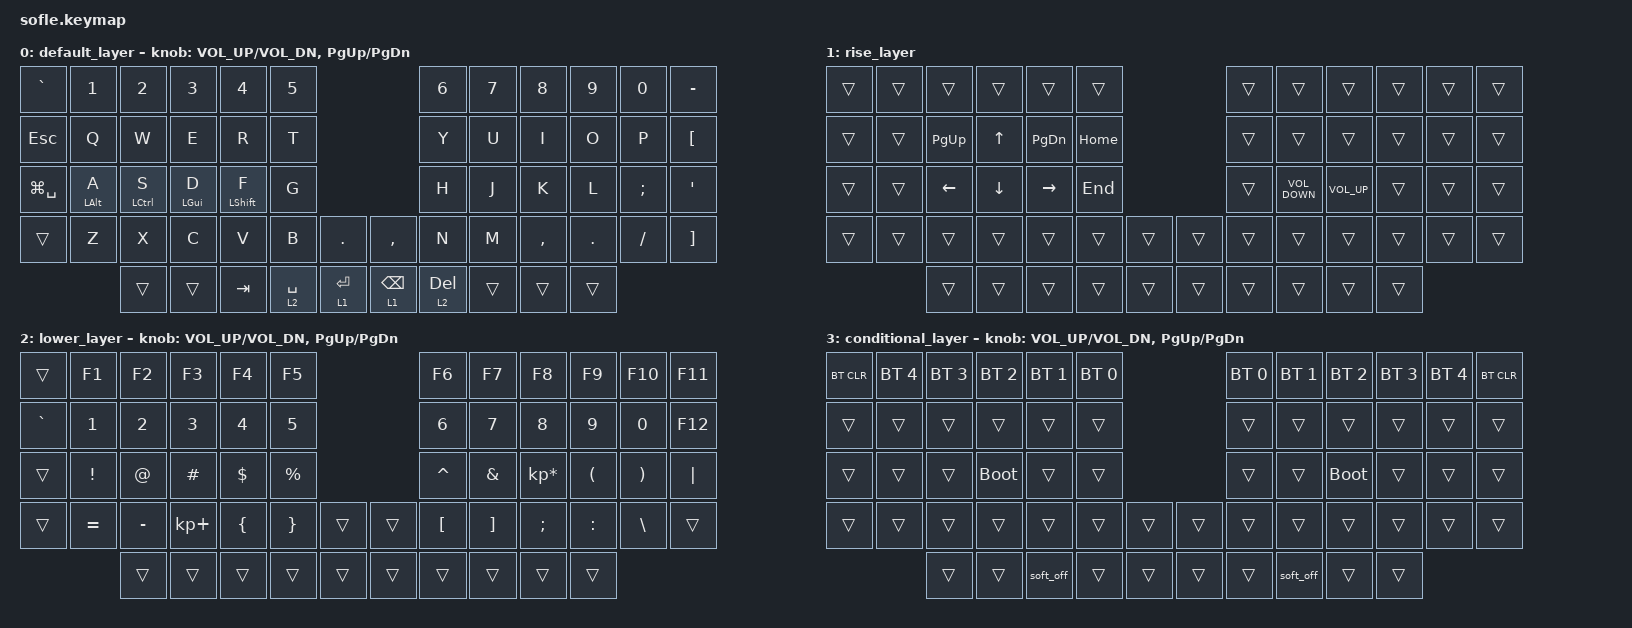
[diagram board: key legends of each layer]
/*
 * Copyright (c) 2020 The ZMK Contributors
 *
 * SPDX-License-Identifier: MIT
 */

#include <behaviors.dtsi>
#include <dt-bindings/zmk/bt.h>
#include <dt-bindings/zmk/keys.h>

/ {
    keymap {
        compatible = "zmk,keymap";

        default_layer {
            // ------------------------------------------------------------------------------------------------------------
            // |  `    |  1  |  2  |  3   |  4   |  5   |                         |  6   |  7    |  8    |  9   |   0   |       |
            // |  ESC  |  Q  |  W  |  E   |  R   |  T   |                         |  Y   |  U    |  I    |  O   |   P   | BKSPC |
            // |  TAB  |  A  |  S  |  D   |  F   |  G   |                         |  H   |  J    |  K    |  L   |   ;   |   '   |
            // | SHIFT |  Z  |  X  |  C   |  V   |  B   |  MUTE  |        | ExtPw |  N   |  M    |  ,    |  .   |   /   | SHIFT |
            //               | GUI | ALT  | CTRL | LOWER|  ENTER |        | SPACE | RAISE| CTRL  | ALT   | GUI  |

            bindings = <
&kp GRAVE      &kp N1          &kp N2       &kp N3      &kp N4       &kp N5                                      &kp N6        &kp N7  &kp N8     &kp N9   &kp N0    &kp MINUS
&kp ESC        &kp Q           &kp W        &kp E       &kp R        &kp T                                       &kp Y         &kp U   &kp I      &kp O    &kp P     &kp LBKT
&kp LG(SPACE)  &mt LEFT_ALT A  &mt LCTRL S  &mt LGUI D  &mt LSHFT F  &kp G                                       &kp H         &kp J   &kp K      &kp L    &kp SEMI  &kp SQT
&trans         &kp Z           &kp X        &kp C       &kp V        &kp B        &kp PERIOD    &kp COMMA        &kp N         &kp M   &kp COMMA  &kp DOT  &kp FSLH  &kp RIGHT_BRACKET
                               &trans       &trans      &kp TAB      &lt 2 SPACE  &lt 1 RET     &lt 1 BACKSPACE  &lt 2 DELETE  &trans  &trans     &trans
            >;

            sensor-bindings = <&inc_dec_kp C_VOL_UP C_VOL_DN &inc_dec_kp PG_UP PG_DN>;
        };

        rise_layer {
            bindings = <
&trans  &trans  &trans     &trans    &trans     &trans                      &trans  &trans             &trans           &trans  &trans  &trans
&trans  &trans  &kp PG_UP  &kp UP    &kp PG_DN  &kp HOME                    &trans  &trans             &trans           &trans  &trans  &trans
&trans  &trans  &kp LEFT   &kp DOWN  &kp RIGHT  &kp END                     &trans  &kp C_VOLUME_DOWN  &kp C_VOLUME_UP  &trans  &trans  &trans
&trans  &trans  &trans     &trans    &trans     &trans    &trans    &trans  &trans  &trans             &trans           &trans  &trans  &trans
                &trans     &trans    &trans     &trans    &trans    &trans  &trans  &trans             &trans           &trans
            >;
        };

        lower_layer {
            // TODO: Some binds are waiting for shifted keycode support.
            // ------------------------------------------------------------------------------------------------------------
            // |       |  F1 |  F2 |  F3  |  F4  |  F5  |                   |  F6  |  F7   |  F8   |  F9  |  F10  |  F11  |
            // | `     |   1 |   2 |   3  |   4  |   5  |                   |   6  |   7   |   8   |   9  |    0  |  F12  |
            // |       |  !  |  @  |  #   |  $   |  %   |                   |  ^   |  &    |  *    |  (   |   )   |   |   |
            // |       |  =  |  -  |  +   |  {   |  }   |        |  |       |  [   |  ]    |  ;    |  :   |   \   |       |
            //               |     |      |      |      |        |  |       |      |       |       |      |

            bindings = <
&trans     &kp F1     &kp F2     &kp F3       &kp F4    &kp F5                       &kp F6     &kp F7    &kp F8           &kp F9     &kp F10   &kp F11
&kp GRAVE  &kp N1     &kp N2     &kp N3       &kp N4    &kp N5                       &kp N6     &kp N7    &kp N8           &kp N9     &kp N0    &kp F12
&trans     &kp EXCL   &kp AT     &kp HASH     &kp DLLR  &kp PRCNT                    &kp CARET  &kp AMPS  &kp KP_MULTIPLY  &kp LPAR   &kp RPAR  &kp PIPE
&trans     &kp EQUAL  &kp MINUS  &kp KP_PLUS  &kp LBRC  &kp RBRC   &trans    &trans  &kp LBKT   &kp RBKT  &kp SEMI         &kp COLON  &kp BSLH  &trans
                      &trans     &trans       &trans    &trans     &trans    &trans  &trans     &trans    &trans           &trans
            >;

            sensor-bindings = <&inc_dec_kp C_VOL_UP C_VOL_DN &inc_dec_kp PG_UP PG_DN>;
        };

        conditional_layer {
            // ------------------------------------------------------------------------------------------------------------
            // |BTCLR| BT1  | BT2  |  BT3  |  BT4  |  BT5 |                |      |      |       |      |       |       |
            // |     | INS  | PSCR | GUI   |       |      |                | PGUP |      |   ^   |      |       |       |
            // |     | ALT  | CTRL | SHIFT |       | CAPS |                | PGDN |   <- |   v   |  ->  |  DEL  | BKSPC |
            // |     | UNDO | CUT  | COPY  | PASTE |      |      |  |      |      |      |       |      |       |       |
            //              |      |       |       |      |      |  |      |      |      |       |      |

            bindings = <
&bt BT_CLR  &bt BT_SEL 4  &bt BT_SEL 3  &bt BT_SEL 2  &bt BT_SEL 1  &bt BT_SEL 0                    &bt BT_SEL 0  &bt BT_SEL 1  &bt BT_SEL 2  &bt BT_SEL 3  &bt BT_SEL 4  &bt BT_CLR
&trans      &trans        &trans        &trans        &trans        &trans                          &trans        &trans        &trans        &trans        &trans        &trans
&trans      &trans        &trans        &bootloader   &trans        &trans                          &trans        &trans        &bootloader   &trans        &trans        &trans
&trans      &trans        &trans        &trans        &trans        &trans        &trans    &trans  &trans        &trans        &trans        &trans        &trans        &trans
                          &trans        &trans        &soft_off     &trans        &trans    &trans  &trans        &soft_off     &trans        &trans
            >;

            sensor-bindings = <&inc_dec_kp C_VOL_UP C_VOL_DN &inc_dec_kp PG_UP PG_DN>;
        };
    };
};
